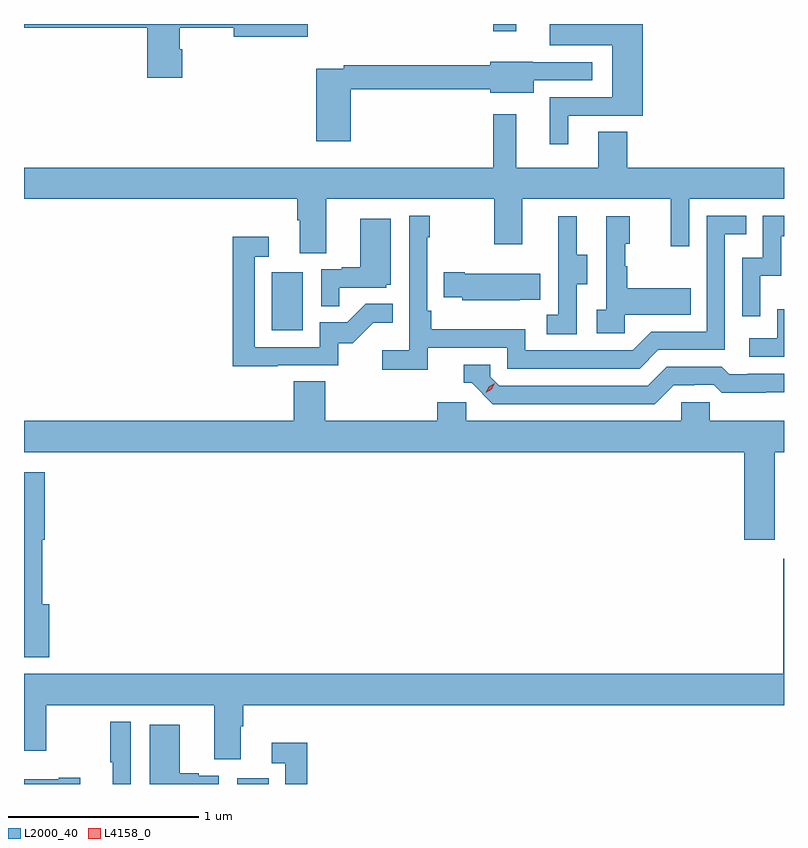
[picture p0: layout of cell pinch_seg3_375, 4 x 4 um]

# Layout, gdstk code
import gdstk
lib = gdstk.Library(unit=1e-6, precision=1e-09)
def R(c, l, rs):  # rectangles x0, y0, x1, y1
    for r in rs: c.add(gdstk.rectangle(r[:2], r[2:], *l))
def P(c, l, *ps):  # polygons
    for p in ps: c.add(gdstk.Polygon(p, *l))
L2000_40 = (2000, 40)
L4158_0 = (4158, 0)

pinch_seg3_375 = lib.new_cell('pinch_seg3_375')
R(pinch_seg3_375, L2000_40, [(997.862,701.833,998.026,701.863), (998.042,704.22,998.206,704.527), (999.21,705.795,999.331,705.833)])
P(pinch_seg3_375, L2000_40, [(997.571,705.699),(997.558,705.699),(997.558,705.814),(997.844,705.814),(997.844,705.767),(998.233,705.767),(998.233,705.833),(996.739,705.833),(996.739,705.814),(997.388,705.814),(997.388,705.549),(997.571,705.549)],
  [(999.604,705.351),(999.995,705.351),(999.995,705.833),(999.506,705.833),(999.506,705.722),(999.836,705.722),(999.836,705.447),(999.506,705.447),(999.506,705.201),(999.604,705.201)],
  [(998.459,705.489),(999.194,705.489),(999.194,705.47),(999.421,705.47),(999.421,705.537),(999.73,705.537),(999.73,705.633),(999.417,705.633),(999.417,705.634),(999.194,705.634),(999.194,705.617),(998.422,705.617),(998.422,705.597),(998.276,705.597),(998.276,705.216),(998.459,705.216)],
  [(998.329,704.912),(999.214,704.912),(999.214,704.673),(999.361,704.673),(999.361,704.912),(1000.142,704.912),(1000.142,704.664),(1000.239,704.664),(1000.239,704.912),(1000.739,704.912),(1000.739,705.076),(999.914,705.076),(999.914,705.266),(999.761,705.266),(999.761,705.076),(999.331,705.076),(999.331,705.358),(999.21,705.358),(999.21,705.076),(996.739,705.076),(996.739,704.912),(998.177,704.912),(998.177,704.8),(998.189,704.8),(998.189,704.626),(998.329,704.626)],
  [(998.864,704.13),(999.282,704.13),(999.282,704.019),(999.979,704.019),(1000.078,704.118),(1000.428,704.118),(1000.428,704.727),(1000.541,704.727),(1000.541,704.823),(1000.332,704.823),(1000.332,704.214),(1000.041,704.214),(999.942,704.115),(999.378,704.115),(999.378,704.227),(998.882,704.227),(998.882,704.323),(998.862,704.323),(998.862,704.711),(998.875,704.711),(998.875,704.824),(998.766,704.824),(998.766,704.116),(998.625,704.116),(998.625,704.014),(998.864,704.014)],
  [(1000.614,704.507),(1000.724,704.507),(1000.724,704.715),(1000.739,704.715),(1000.739,704.823),(1000.626,704.823),(1000.626,704.604),(1000.518,704.604),(1000.518,704.295),(1000.614,704.295)],
  [(999.648,704.464),(999.703,704.464),(999.703,704.619),(999.649,704.619),(999.649,704.821),(999.551,704.821),(999.551,704.607),(999.552,704.607),(999.552,704.303),(999.489,704.303),(999.489,704.2),(999.648,704.2)],
  [(999.9,704.303),(1000.247,704.303),(1000.247,704.443),(999.913,704.443),(999.913,704.558),(999.903,704.558),(999.903,704.676),(999.928,704.676),(999.928,704.821),(999.804,704.821),(999.804,704.33),(999.753,704.33),(999.753,704.205),(999.9,704.205)],
  [(998.399,704.445),(998.646,704.445),(998.646,704.46),(998.668,704.46),(998.668,704.809),(998.51,704.809),(998.51,704.554),(998.411,704.554),(998.411,704.541),(998.304,704.541),(998.304,704.347),(998.399,704.347)],
  [(998.075,704.037),(998.394,704.037),(998.394,704.154),(998.47,704.154),(998.577,704.261),(998.681,704.261),(998.681,704.36),(998.537,704.36),(998.439,704.262),(998.295,704.262),(998.295,704.133),(997.953,704.133),(997.953,704.607),(998.026,704.607),(998.026,704.713),(997.837,704.713),(997.837,704.032),(998.075,704.032)],
  [(999.347,704.381),(999.455,704.381),(999.455,704.518),(999.058,704.518),(999.058,704.526),(998.947,704.526),(998.947,704.396),(999.045,704.396),(999.045,704.378),(999.347,704.378)],
  [(1000.739,704.332),(1000.704,704.332),(1000.704,704.178),(1000.557,704.178),(1000.557,704.082),(1000.739,704.082)],
  [(1000.159,703.932),(1000.266,703.932),(1000.266,703.935),(1000.369,703.935),(1000.411,703.893),(1000.644,703.893),(1000.644,703.895),(1000.739,703.895),(1000.739,703.992),(1000.549,703.992),(1000.549,703.989),(1000.45,703.989),(1000.411,704.028),(1000.122,704.028),(1000.023,703.929),(999.24,703.929),(999.192,703.977),(999.192,704.04),(999.053,704.04),(999.053,703.944),(999.096,703.944),(999.207,703.833),(1000.06,703.833)],
  [(1000.689,703.58),(1000.739,703.58),(1000.739,703.744),(1000.347,703.744),(1000.347,703.842),(1000.197,703.842),(1000.197,703.744),(999.066,703.744),(999.066,703.842),(998.915,703.842),(998.915,703.744),(998.324,703.744),(998.324,703.952),(998.159,703.952),(998.159,703.744),(996.739,703.744),(996.739,703.58),(1000.529,703.58),(1000.529,703.119),(1000.689,703.119)],
  [(996.872,702.78),(996.835,702.78),(996.835,703.118),(996.848,703.118),(996.848,703.474),(996.739,703.474),(996.739,702.501),(996.872,702.501)],
  [(997.879,702.136),(997.892,702.136),(997.892,702.248),(1000.739,702.248),(1000.739,703.018),(1000.736,703.018),(1000.736,702.412),(996.739,702.412),(996.739,702.009),(996.855,702.009),(996.855,702.248),(997.739,702.248),(997.739,701.962),(997.879,701.962)],
  [(997.302,702.16),(997.194,702.16),(997.194,701.947),(997.205,701.947),(997.205,701.833),(997.302,701.833)],
  [(997.764,701.877),(997.658,701.877),(997.658,701.89),(997.558,701.89),(997.558,702.145),(997.4,702.145),(997.4,701.833),(997.764,701.833)],
  [(998.231,702.049),(998.043,702.049),(998.043,701.943),(998.115,701.943),(998.115,701.833),(998.231,701.833)],
  [(997.036,701.865),(996.923,701.865),(996.923,701.857),(996.739,701.857),(996.739,701.833),(997.036,701.833)])
P(pinch_seg3_375, L4158_0, [(999.169,703.891),(999.169,703.891),(999.185,703.924),(999.216,703.943),(999.216,703.943),(999.216,703.943),(999.2,703.91),(999.169,703.891)])

lib.write_gds('pinch_seg3_375.gds')
